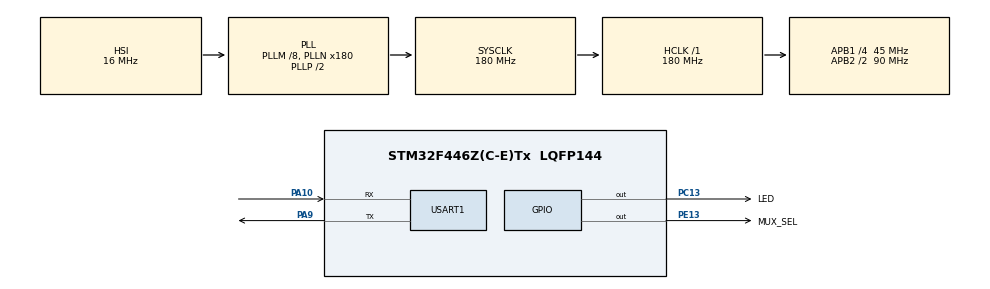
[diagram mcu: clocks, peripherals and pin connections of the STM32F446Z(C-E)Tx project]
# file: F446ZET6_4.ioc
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Mcu.Family=STM32F4
Mcu.Name=STM32F446Z(C-E)Tx
Mcu.Package=LQFP144
NVIC.PriorityGroup=NVIC_PRIORITYGROUP_4
NVIC.USART1_IRQn=true\:0\:0\:false\:false\:true\:true\:true\:true
PA10.Mode=Asynchronous
PA10.Signal=USART1_RX
PA13.Mode=Serial_Wire
PA13.Signal=SYS_JTMS-SWDIO
PA14.Mode=Serial_Wire
PA14.Signal=SYS_JTCK-SWCLK
PA9.Mode=Asynchronous
PA9.Signal=USART1_TX
PC13.GPIO_Label=LED
PC13.Signal=GPIO_Output
PE13.GPIO_Label=MUX_SEL
PE13.Signal=GPIO_Output
ProjectManager.HeapSize=0x200
ProjectManager.StackSize=0x400
ProjectManager.TargetToolchain=STM32CubeIDE
RCC.AHBFreq_Value=180000000
RCC.APB1CLKDivider=RCC_HCLK_DIV4
RCC.APB1Freq_Value=45000000
RCC.APB1TimFreq_Value=90000000
RCC.APB2CLKDivider=RCC_HCLK_DIV2
RCC.APB2Freq_Value=90000000
RCC.APB2TimFreq_Value=180000000
RCC.CortexFreq_Value=180000000
RCC.HCLKFreq_Value=180000000
RCC.PLLM=8
RCC.PLLN=180
RCC.SYSCLKFreq_VALUE=180000000
RCC.SYSCLKSource=RCC_SYSCLKSOURCE_PLLCLK
RCC.USBFreq_Value=180000000
RCC.VCOOutputFreq_Value=360000000
USART1.VirtualMode=VM_ASYNC
board=custom

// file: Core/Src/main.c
/* USER CODE BEGIN Header */
/**
  ******************************************************************************
  * @file           : main.c
  * @brief          : Main program body
  ******************************************************************************
  * @attention
  *
  * Copyright (c) 2023 STMicroelectronics.
  * All rights reserved.
  *
  * This software is licensed under terms that can be found in the LICENSE file
  * in the root directory of this software component.
  * If no LICENSE file comes with this software, it is provided AS-IS.
  *
  ******************************************************************************
  */
/* USER CODE END Header */
#include "main.h"

/* USER CODE BEGIN Includes */
#include <stdio.h>
/* USER CODE END Includes */

UART_HandleTypeDef huart1;

/* USER CODE BEGIN PV */
uint8_t rx_data;
/* USER CODE END PV */

void SystemClock_Config(void);
static void MX_GPIO_Init(void);
static void MX_USART1_UART_Init(void);
/* USER CODE BEGIN PFP */
#ifdef __GNUC__
#define PUTCHAR_PROTOTYPE int __io_putchar(int ch)
#else
#define PUTCHAR_PROTOTYPE int fputc(int ch, FILE *f)
#endif

PUTCHAR_PROTOTYPE
{
  HAL_UART_Transmit(&huart1, (uint8_t *)&ch, 1, HAL_MAX_DELAY);
  return ch;
}
/* USER CODE END PFP */

/* USER CODE BEGIN 0 */
void HAL_UART_RxCpltCallback(UART_HandleTypeDef *huart){
	  HAL_UART_Receive_IT(&huart1, &rx_data, 1);
}
/* USER CODE END 0 */

int main(void)
{

  /* MCU Configuration--------------------------------------------------------*/

  /* Reset of all peripherals, Initializes the Flash interface and the Systick. */
  HAL_Init();

  /* Configure the system clock */
  SystemClock_Config();

  /* Initialize all configured peripherals */
  MX_GPIO_Init();
  MX_USART1_UART_Init();
  /* USER CODE BEGIN 2 */
  HAL_UART_Receive_IT(&huart1, &rx_data, 1);
  /* USER CODE END 2 */

  /* Infinite loop */
  while (1)
  {

    /* USER CODE BEGIN 3 */
	  HAL_GPIO_WritePin(MUX_SEL_GPIO_Port, MUX_SEL_Pin, GPIO_PIN_SET);

	  printf("Going to Sleep Mode in 10 Seconds\n\r");

	  HAL_GPIO_WritePin(LED_GPIO_Port, LED_Pin, GPIO_PIN_RESET);
	  HAL_Delay(10000);

	  HAL_SuspendTick();
	  HAL_GPIO_WritePin(LED_GPIO_Port, LED_Pin, GPIO_PIN_SET);
	  HAL_PWR_EnterSLEEPMode(PWR_MAINREGULATOR_ON, PWR_SLEEPENTRY_WFI);
	  HAL_ResumeTick();

	  printf("Woke Up from Sleep Mode\n\r");
	  for(int i=0; i<10; i++){
		  HAL_GPIO_TogglePin(LED_GPIO_Port, LED_Pin);
		  HAL_Delay(500);
	  }
  }
  /* USER CODE END 3 */
}

void SystemClock_Config(void)
{
  RCC_OscInitTypeDef RCC_OscInitStruct = {0};
  RCC_ClkInitTypeDef RCC_ClkInitStruct = {0};

  /** Configure the main internal regulator output voltage
  */
  __HAL_RCC_PWR_CLK_ENABLE();
  __HAL_PWR_VOLTAGESCALING_CONFIG(PWR_REGULATOR_VOLTAGE_SCALE1);

  /** Initializes the RCC Oscillators according to the specified parameters
  * in the RCC_OscInitTypeDef structure.
  */
  RCC_OscInitStruct.OscillatorType = RCC_OSCILLATORTYPE_HSI;
  RCC_OscInitStruct.HSIState = RCC_HSI_ON;
  RCC_OscInitStruct.HSICalibrationValue = RCC_HSICALIBRATION_DEFAULT;
  RCC_OscInitStruct.PLL.PLLState = RCC_PLL_ON;
  RCC_OscInitStruct.PLL.PLLSource = RCC_PLLSOURCE_HSI;
  RCC_OscInitStruct.PLL.PLLM = 8;
  RCC_OscInitStruct.PLL.PLLN = 180;
  RCC_OscInitStruct.PLL.PLLP = RCC_PLLP_DIV2;
  RCC_OscInitStruct.PLL.PLLQ = 2;
  RCC_OscInitStruct.PLL.PLLR = 2;
  if (HAL_RCC_OscConfig(&RCC_OscInitStruct) != HAL_OK)
  {
    Error_Handler();
  }

  /** Activate the Over-Drive mode
  */
  if (HAL_PWREx_EnableOverDrive() != HAL_OK)
  {
    Error_Handler();
  }

  /** Initializes the CPU, AHB and APB buses clocks
  */
  RCC_ClkInitStruct.ClockType = RCC_CLOCKTYPE_HCLK|RCC_CLOCKTYPE_SYSCLK
                              |RCC_CLOCKTYPE_PCLK1|RCC_CLOCKTYPE_PCLK2;
  RCC_ClkInitStruct.SYSCLKSource = RCC_SYSCLKSOURCE_PLLCLK;
  RCC_ClkInitStruct.AHBCLKDivider = RCC_SYSCLK_DIV1;
  RCC_ClkInitStruct.APB1CLKDivider = RCC_HCLK_DIV4;
  RCC_ClkInitStruct.APB2CLKDivider = RCC_HCLK_DIV2;

  if (HAL_RCC_ClockConfig(&RCC_ClkInitStruct, FLASH_LATENCY_5) != HAL_OK)
  {
    Error_Handler();
  }
}

static void MX_USART1_UART_Init(void)
{

  huart1.Instance = USART1;
  huart1.Init.BaudRate = 115200;
  huart1.Init.WordLength = UART_WORDLENGTH_8B;
  huart1.Init.StopBits = UART_STOPBITS_1;
  huart1.Init.Parity = UART_PARITY_NONE;
  huart1.Init.Mode = UART_MODE_TX_RX;
  huart1.Init.HwFlowCtl = UART_HWCONTROL_NONE;
  huart1.Init.OverSampling = UART_OVERSAMPLING_16;
  if (HAL_UART_Init(&huart1) != HAL_OK)
  {
    Error_Handler();
  }

}

static void MX_GPIO_Init(void)
{
  GPIO_InitTypeDef GPIO_InitStruct = {0};

  /* GPIO Ports Clock Enable */
  __HAL_RCC_GPIOC_CLK_ENABLE();
  __HAL_RCC_GPIOE_CLK_ENABLE();
  __HAL_RCC_GPIOA_CLK_ENABLE();

  /*Configure GPIO pin Output Level */
  HAL_GPIO_WritePin(LED_GPIO_Port, LED_Pin, GPIO_PIN_SET);

  /*Configure GPIO pin Output Level */
  HAL_GPIO_WritePin(MUX_SEL_GPIO_Port, MUX_SEL_Pin, GPIO_PIN_RESET);

  /*Configure GPIO pin : LED_Pin */
  GPIO_InitStruct.Pin = LED_Pin;
  GPIO_InitStruct.Mode = GPIO_MODE_OUTPUT_PP;
  GPIO_InitStruct.Pull = GPIO_NOPULL;
  GPIO_InitStruct.Speed = GPIO_SPEED_FREQ_LOW;
  HAL_GPIO_Init(LED_GPIO_Port, &GPIO_InitStruct);

  /*Configure GPIO pin : MUX_SEL_Pin */
  GPIO_InitStruct.Pin = MUX_SEL_Pin;
  GPIO_InitStruct.Mode = GPIO_MODE_OUTPUT_PP;
  GPIO_InitStruct.Pull = GPIO_NOPULL;
  GPIO_InitStruct.Speed = GPIO_SPEED_FREQ_LOW;
  HAL_GPIO_Init(MUX_SEL_GPIO_Port, &GPIO_InitStruct);

}

void Error_Handler(void)
{
  __disable_irq();
  while (1)
  {
  }
}
